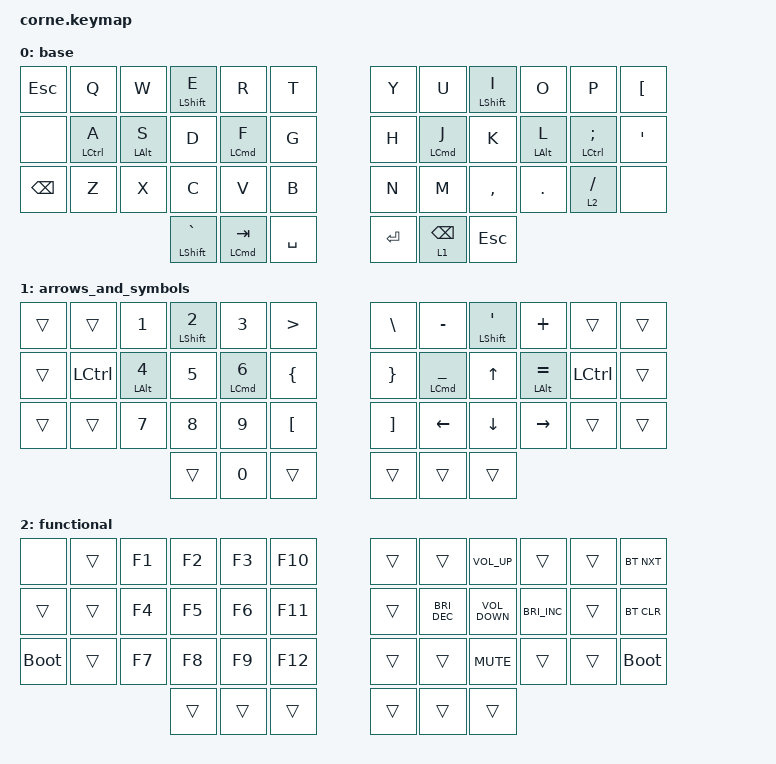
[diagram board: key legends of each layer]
/*
 * Copyright (c) 2020 The ZMK Contributors
 *
 * SPDX-License-Identifier: MIT
 */

#include <behaviors.dtsi>
#include <dt-bindings/zmk/bt.h>
#include <dt-bindings/zmk/keys.h>

/ {
    behaviors {
        hrm: custom_mod_tap {
            compatible = "zmk,behavior-hold-tap";
            #binding-cells = <2>;
            flavor = "balanced";
            tapping-term-ms = <280>;
            bindings = <&kp>, <&kp>;

            require-prior-idle-ms = <150>;
            quick-tap-ms = <180>;
        };
    };

    combos {
        compatible = "zmk,combos";

        ch_locale {
            bindings = <&kp LG(SPACE)>;
            key-positions = <38 39>;
            layers = <0>;
            timeout-ms = <50>;
            require-prior-idle-ms = <50>;
        };

        quick_caps {
            bindings = <&kp CAPSLOCK>;
            key-positions = <3 8>;
            layers = <0>;
            timeout-ms = <50>;
            require-prior-idle-ms = <50>;
        };

        cmd_tab {
            bindings = <&kp LG(TAB)>;
            key-positions = <37 16>;
            timeout-ms = <50>;
            require-prior-idle-ms = <50>;
            layers = <0>;
        };

        ctrl_tab {
            bindings = <&kp LC(TAB)>;
            key-positions = <13 37>;
            timeout-ms = <50>;
            require-prior-idle-ms = <50>;
            layers = <0>;
        };

        cmd_tilda {
            bindings = <&kp LC(TILDE)>;
            key-positions = <16 36>;
            timeout-ms = <50>;
            require-prior-idle-ms = <50>;
            layers = <0>;
        };

        spoghtlight {
            bindings = <&kp LC(SPACE)>;
            key-positions = <13 38>;
        };
    };

    keymap {
        compatible = "zmk,keymap";

        base {
            bindings = <
&kp ESCAPE     &kp Q         &kp W        &hrm LSHFT E      &kp R         &kp T        &kp Y      &kp U            &hrm LSHIFT I  &kp O        &kp P                 &kp LEFT_BRACKET
&none          &hrm LCTRL A  &hrm LALT S  &kp D             &hrm LCMD F   &kp G        &kp H      &hrm LCMD J      &kp K          &hrm LALT L  &hrm LCTRL SEMICOLON  &kp SQT
&kp BACKSPACE  &kp Z         &kp X        &kp C             &kp V         &kp B        &kp N      &kp M            &kp COMMA      &kp PERIOD   &lt 2 SLASH           &none
                                          &mt LSHIFT GRAVE  &mt LCMD TAB  &kp SPACE    &kp ENTER  &lt 1 BACKSPACE  &kp ESC
            >;
        };

        arrows_and_symbols {
            bindings = <
&trans  &trans     &kp NUMBER_1        &hrm LSHIFT NUMBER_2  &kp NUMBER_3        &kp GREATER_THAN    &kp BACKSLASH      &kp MINUS             &hrm LSHIFT SQT  &kp PLUS         &trans     &trans
&trans  &kp LCTRL  &hrm LALT NUMBER_4  &kp NUMBER_5          &hrm LCMD NUMBER_6  &kp LEFT_BRACE      &kp RIGHT_BRACE    &hrm LCMD UNDERSCORE  &kp UP_ARROW     &hrm LALT EQUAL  &kp LCTRL  &trans
&trans  &trans     &kp NUMBER_7        &kp NUMBER_8          &kp NUMBER_9        &kp LEFT_BRACKET    &kp RIGHT_BRACKET  &kp LEFT_ARROW        &kp DOWN_ARROW   &kp RIGHT_ARROW  &trans     &trans
                                       &trans                &kp NUMBER_0        &trans              &trans             &trans                &trans
            >;
        };

        functional {
            bindings = <
&none        &trans  &kp F1  &kp F2  &kp F3  &kp F10    &trans  &trans                &kp C_VOLUME_UP    &trans                &trans  &bt BT_NXT
&trans       &trans  &kp F4  &kp F5  &kp F6  &kp F11    &trans  &kp C_BRIGHTNESS_DEC  &kp K_VOLUME_DOWN  &kp C_BRIGHTNESS_INC  &trans  &bt BT_CLR
&bootloader  &trans  &kp F7  &kp F8  &kp F9  &kp F12    &trans  &trans                &kp K_MUTE         &trans                &trans  &bootloader
                             &trans  &trans  &trans     &trans  &trans                &trans
            >;
        };
    };
};
